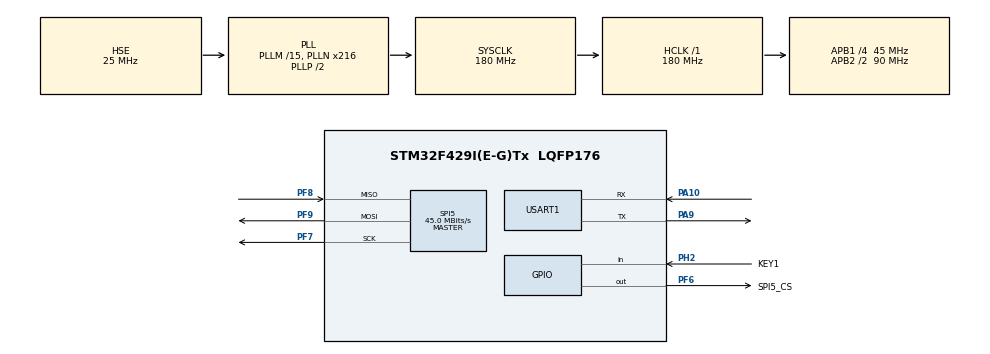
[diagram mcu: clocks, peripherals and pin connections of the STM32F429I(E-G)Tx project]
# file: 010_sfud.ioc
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Mcu.Family=STM32F4
Mcu.Name=STM32F429I(E-G)Tx
Mcu.Package=LQFP176
NVIC.PriorityGroup=NVIC_PRIORITYGROUP_2
NVIC.TIM2_IRQn=true\:1\:0\:true\:false\:true\:true\:true
NVIC.USART1_IRQn=true\:1\:0\:true\:false\:true\:true\:true
PA10.Mode=Asynchronous
PA10.Signal=USART1_RX
PA13.Mode=Serial_Wire
PA13.Signal=SYS_JTMS-SWDIO
PA14.Mode=Serial_Wire
PA14.Signal=SYS_JTCK-SWCLK
PA9.Mode=Asynchronous
PA9.Signal=USART1_TX
PC14/OSC32_IN.Mode=LSE-External-Oscillator
PC14/OSC32_IN.Signal=RCC_OSC32_IN
PC15/OSC32_OUT.Mode=LSE-External-Oscillator
PC15/OSC32_OUT.Signal=RCC_OSC32_OUT
PF6.GPIO_Label=SPI5_CS
PF6.GPIO_PuPd=GPIO_PULLUP
PF6.GPIO_Speed=GPIO_SPEED_FREQ_VERY_HIGH
PF6.PinState=GPIO_PIN_SET
PF6.Signal=GPIO_Output
PF7.Mode=Full_Duplex_Master
PF7.Signal=SPI5_SCK
PF8.Mode=Full_Duplex_Master
PF8.Signal=SPI5_MISO
PF9.Mode=Full_Duplex_Master
PF9.Signal=SPI5_MOSI
PH0/OSC_IN.Mode=HSE-External-Oscillator
PH0/OSC_IN.Signal=RCC_OSC_IN
PH1/OSC_OUT.Mode=HSE-External-Oscillator
PH1/OSC_OUT.Signal=RCC_OSC_OUT
PH2.GPIO_Label=KEY1
PH2.GPIO_PuPd=GPIO_PULLUP
PH2.Signal=GPIO_Input
ProjectManager.HeapSize=0x200
ProjectManager.StackSize=0x400
ProjectManager.TargetToolchain=MDK-ARM V5.27
RCC.48MHZClocksFreq_Value=90000000
RCC.AHBFreq_Value=180000000
RCC.APB1CLKDivider=RCC_HCLK_DIV4
RCC.APB1Freq_Value=45000000
RCC.APB1TimFreq_Value=90000000
RCC.APB2CLKDivider=RCC_HCLK_DIV2
RCC.APB2Freq_Value=90000000
RCC.APB2TimFreq_Value=180000000
RCC.CortexFreq_Value=180000000
RCC.HCLKFreq_Value=180000000
RCC.HSE_VALUE=25000000
RCC.HSI_VALUE=16000000
RCC.PLLM=15
RCC.PLLN=216
RCC.PLLSourceVirtual=RCC_PLLSOURCE_HSE
RCC.SYSCLKFreq_VALUE=180000000
RCC.SYSCLKSource=RCC_SYSCLKSOURCE_PLLCLK
RCC.VCOOutputFreq_Value=360000000
SPI5.BaudRatePrescaler=SPI_BAUDRATEPRESCALER_2
SPI5.CalculateBaudRate=45.0 MBits/s
SPI5.Direction=SPI_DIRECTION_2LINES
SPI5.Mode=SPI_MODE_MASTER
SPI5.VirtualType=VM_MASTER
TIM2.Period=5-1
TIM2.Prescaler=45000-1
USART1.VirtualMode=VM_ASYNC
VP_TIM2_VS_ClockSourceINT.Mode=Internal
board=custom

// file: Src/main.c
/* USER CODE BEGIN Header */
/**
  ******************************************************************************
  * @file           : main.c
  * @brief          : Main program body
  ******************************************************************************
  * @attention
  *
  * <h2><center>&copy; Copyright (c) 2021 STMicroelectronics.
  * All rights reserved.</center></h2>
  *
  * This software component is licensed by ST under BSD 3-Clause license,
  * the "License"; You may not use this file except in compliance with the
  * License. You may obtain a copy of the License at:
  *                        opensource.org/licenses/BSD-3-Clause
  *
  ******************************************************************************
  */
/* USER CODE END Header */

#include "main.h"
#include "spi.h"
#include "tim.h"
#include "usart.h"
#include "gpio.h"

/* USER CODE BEGIN Includes */
#include "config.h"

/* USER CODE END Includes */

void SystemClock_Config(void);

/* USER CODE BEGIN 0 */

//开辟一块内存用于存放环形队列消息缓冲区
#define MSG_BUFFDATA_SIZE	128
static uint8_t msg_buffdata[MSG_BUFFDATA_SIZE];

//用于存储消息的环形缓冲队列的rt_ringbuffer句柄
struct rt_ringbuffer	msg_ringbuffer;

//系统消息处理
static uint8_t message_buff[256];
void msg_process(void)
{
	system_message sys_msg;

	if(rt_ringbuffer_data_len(&msg_ringbuffer)!= 0) //消息队列不为空，则有消息需要处理
	{
		rt_ringbuffer_get(&msg_ringbuffer,(uint8_t *) &sys_msg.msg_type, 2);//读取消息类型(1字节) + 消息参数(1字节)，其中：不同消息类型对应的消息参数意义也不同，由用户自行定义

		switch(sys_msg.msg_type)
		{
			case MSG_USART1_REC_FINISH:
				rt_ringbuffer_get(&usart1_recv_ring_buf, message_buff, sys_msg.msg_parameter);
			    message_buff[sys_msg.msg_parameter] = '\0';//sys_msg.msg_parameter中存放的是串口1接收帧的长度信息
			    printf("%s\n",message_buff);
				break;

			case MSG_W25QXX_TEST:
				w25qxx_test();
				break;

			default:break;
		}
	}
}

//申请一个按键结构
struct Button button1;

//按键状态读取接口
uint8_t read_button1_GPIO()
{
	return HAL_GPIO_ReadPin(KEY1_GPIO_Port, KEY1_Pin);
}

//按键回调函数
void button1_callback(void *button)
{
		//系统消息
		system_message  sys_msg;

    uint32_t btn_event_val;

    btn_event_val = get_button_event((struct Button *)button);

    switch(btn_event_val)
    {
	    case PRESS_DOWN:
	        printf("---> key1 press down! <---\r\n");
	    	break;

	    case PRESS_UP:
	        printf("***> key1 press up! <***\r\n");
	    	break;

	    case PRESS_REPEAT:
	        printf("---> key1 press repeat! <---\r\n");
	    	break;

	    case SINGLE_CLICK:
	        printf("---> key1 single click! <---\r\n");
	    	break;

			case DOUBLE_CLICK://send msg MSG_W25QXX_TEST,in order to test w25q64 example
				sys_msg.msg_type = MSG_W25QXX_TEST;
				sys_msg.msg_parameter = 0;
				rt_ringbuffer_put(&msg_ringbuffer,(uint8_t *)&sys_msg.msg_type,2);
					printf("---> key1 double click! <---\r\n");
				break;

	    case LONG_PRESS_START:
	        printf("---> key1 long press start! <---\r\n");
	   		break;

	    case LONG_PRESS_HOLD:
	        printf("***> key1 long press hold! <***\r\n");
	    	break;
	}
}

//TIM回调
void HAL_TIM_PeriodElapsedCallback(TIM_HandleTypeDef *htim)
{
		if(htim->Instance == htim2.Instance)
		{
			button_ticks();
		}

}

/*****************************w25qxx example****************************************/
char w25qxx_test_string[6][128]={
	"***************************Copyright (c)***************************",
	"**----------------------Hello World !!! -------------------------**",
	"** Thanks to armink:https://github.com/armink/SFUD               **",
	"** reference:                                                    **",
	"** https://mculover666.blog.csdn.net/article/details/105516371   **",
	"*******************************************************************"
};
//w25qxx_test测试
void w25qxx_test(void)
{
	int i;
	char sBuff[256]={0};
//	sfud_err result = SFUD_SUCCESS;
    const sfud_flash *flash = sfud_get_device_table() + 0;

	for(i=0;i<6;i++)
	{
		sfud_erase_write(flash, 0, strlen(w25qxx_test_string[i]),(uint8_t *)w25qxx_test_string[i]);
	    sfud_read(flash, 0, strlen(w25qxx_test_string[i]),(uint8_t *) sBuff);
	    printf("%s\n",sBuff);
	}

}

/* USER CODE END 0 */

int main(void)
{

  /* MCU Configuration--------------------------------------------------------*/

  /* Reset of all peripherals, Initializes the Flash interface and the Systick. */
  HAL_Init();

  /* Configure the system clock */
  SystemClock_Config();

  /* Initialize all configured peripherals */
  MX_GPIO_Init();
  MX_SPI5_Init();
  MX_USART1_UART_Init();
  MX_TIM2_Init();
  /* USER CODE BEGIN 2 */

	printf("MultiButton+RingBuffer+SFUD Test...\r\n");

	//初始化消息环形队列
	rt_ringbuffer_init(&msg_ringbuffer, msg_buffdata, MSG_BUFFDATA_SIZE);
  HAL_Delay(1);

	//初始化sfud
	sfud_init();
	HAL_Delay(1);

	//初始化按键对象
	button_init(&button1, read_button1_GPIO, 0);

	//注册按钮事件回调函数

//	button_attach(&button1, PRESS_DOWN,       button1_callback);
//	button_attach(&button1, PRESS_UP,         button1_callback);
//	button_attach(&button1, PRESS_REPEAT,     button1_callback);
	button_attach(&button1, SINGLE_CLICK,     button1_callback);
	button_attach(&button1, DOUBLE_CLICK,     button1_callback);
//	button_attach(&button1, LONG_PRESS_START, button1_callback);
//	button_attach(&button1, LONG_PRESS_HOLD,  button1_callback);

	//启动按键
	button_start(&button1);

	//启动定时器
	HAL_TIM_Base_Start_IT(&htim2);

  /* USER CODE END 2 */

  /* Infinite loop */
  while (1)
  {
//		HAL_Delay(200);
		msg_process();
  }
}

void SystemClock_Config(void)
{
  RCC_OscInitTypeDef RCC_OscInitStruct = {0};
  RCC_ClkInitTypeDef RCC_ClkInitStruct = {0};

  /** Configure the main internal regulator output voltage
  */
  __HAL_RCC_PWR_CLK_ENABLE();
  __HAL_PWR_VOLTAGESCALING_CONFIG(PWR_REGULATOR_VOLTAGE_SCALE1);
  /** Initializes the CPU, AHB and APB busses clocks
  */
  RCC_OscInitStruct.OscillatorType = RCC_OSCILLATORTYPE_HSE;
  RCC_OscInitStruct.HSEState = RCC_HSE_ON;
  RCC_OscInitStruct.PLL.PLLState = RCC_PLL_ON;
  RCC_OscInitStruct.PLL.PLLSource = RCC_PLLSOURCE_HSE;
  RCC_OscInitStruct.PLL.PLLM = 15;
  RCC_OscInitStruct.PLL.PLLN = 216;
  RCC_OscInitStruct.PLL.PLLP = RCC_PLLP_DIV2;
  RCC_OscInitStruct.PLL.PLLQ = 4;
  if (HAL_RCC_OscConfig(&RCC_OscInitStruct) != HAL_OK)
  {
    Error_Handler();
  }
  /** Activate the Over-Drive mode
  */
  if (HAL_PWREx_EnableOverDrive() != HAL_OK)
  {
    Error_Handler();
  }
  /** Initializes the CPU, AHB and APB busses clocks
  */
  RCC_ClkInitStruct.ClockType = RCC_CLOCKTYPE_HCLK|RCC_CLOCKTYPE_SYSCLK
                              |RCC_CLOCKTYPE_PCLK1|RCC_CLOCKTYPE_PCLK2;
  RCC_ClkInitStruct.SYSCLKSource = RCC_SYSCLKSOURCE_PLLCLK;
  RCC_ClkInitStruct.AHBCLKDivider = RCC_SYSCLK_DIV1;
  RCC_ClkInitStruct.APB1CLKDivider = RCC_HCLK_DIV4;
  RCC_ClkInitStruct.APB2CLKDivider = RCC_HCLK_DIV2;

  if (HAL_RCC_ClockConfig(&RCC_ClkInitStruct, FLASH_LATENCY_5) != HAL_OK)
  {
    Error_Handler();
  }
}

void Error_Handler(void)
{
}

/************************ (C) COPYRIGHT STMicroelectronics *****END OF FILE****/
